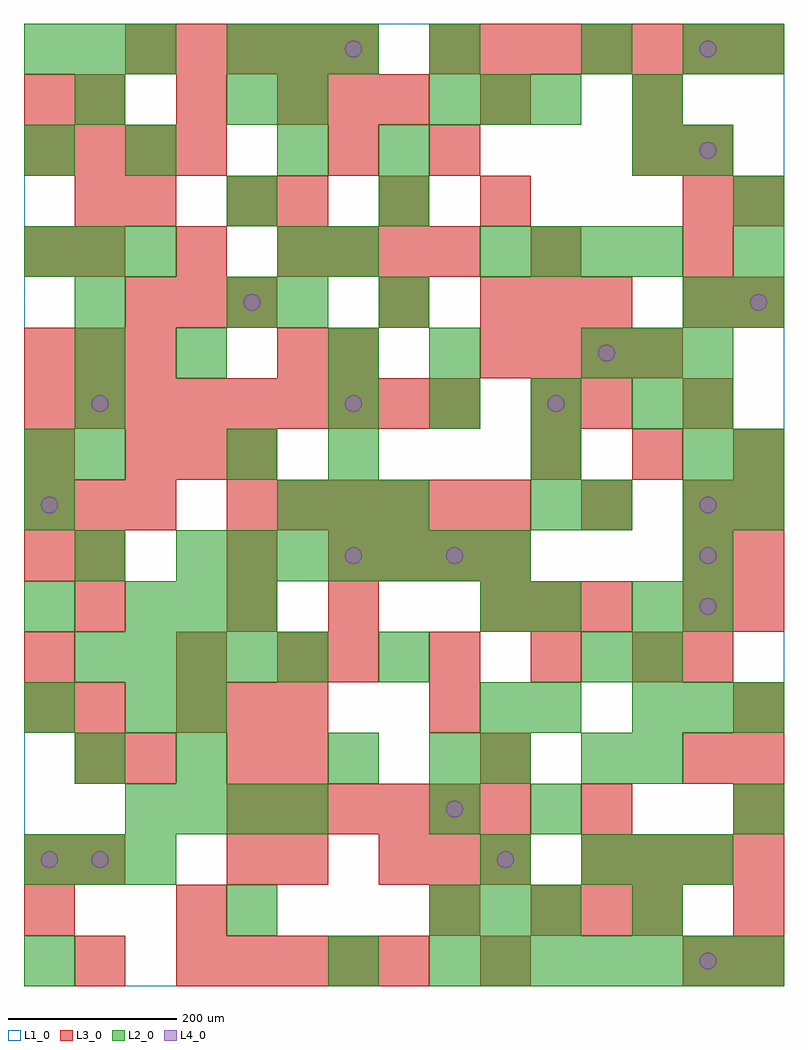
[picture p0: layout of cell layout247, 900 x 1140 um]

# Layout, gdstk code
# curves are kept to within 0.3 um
import gdstk
lib = gdstk.Library(unit=1e-6, precision=1e-09)
def R(c, l, rs):  # rectangles x0, y0, x1, y1
    for r in rs: c.add(gdstk.rectangle(r[:2], r[2:], *l))
def A(c, l, x, y, w, h, nx, ny, dx, dy):  # array of equal rectangles
    R(c, l, [(x+i*dx, y+j*dy, x+i*dx+w, y+j*dy+h) for i in range(nx) for j in range(ny)])
def P(c, l, *ps):  # polygons
    for p in ps: c.add(gdstk.Polygon(p, *l))
L1_0 = (1, 0)
L2_0 = (2, 0)
L3_0 = (3, 0)
L4_0 = (4, 0)

layout247 = lib.new_cell('layout247')
R(layout247, L1_0, [(0,0,900,1140)])
A(layout247, L2_0, 480, 0, 60, 60, 7, 1, 60, 0)
A(layout247, L2_0, 480, 60, 60, 60, 3, 2, 60, 960)
A(layout247, L2_0, 0, 120, 60, 60, 3, 2, 60, 720)
A(layout247, L2_0, 660, 120, 60, 60, 3, 2, 60, 600)
A(layout247, L2_0, 120, 180, 60, 60, 4, 1, 60, 0)
A(layout247, L2_0, 600, 180, 60, 60, 1, 4, 0, 120)
A(layout247, L2_0, 0, 300, 60, 60, 1, 3, 0, 120)
A(layout247, L2_0, 720, 300, 60, 60, 3, 1, 60, 0)
A(layout247, L2_0, 60, 360, 60, 60, 5, 1, 60, 0)
A(layout247, L2_0, 120, 420, 60, 60, 3, 1, 60, 0)
A(layout247, L2_0, 780, 420, 60, 60, 1, 5, 0, 60)
A(layout247, L2_0, 180, 480, 60, 60, 7, 1, 60, 0)
A(layout247, L2_0, 300, 540, 60, 60, 3, 1, 60, 0)
A(layout247, L2_0, 60, 600, 60, 60, 1, 4, 0, 60)
A(layout247, L2_0, 360, 600, 60, 60, 1, 3, 0, 120)
A(layout247, L2_0, 360, 660, 60, 60, 4, 1, 120, 0)
A(layout247, L2_0, 240, 780, 60, 60, 1, 3, 0, 120)
A(layout247, L2_0, 840, 780, 60, 60, 1, 3, 0, 60)
A(layout247, L2_0, 540, 840, 60, 60, 4, 1, 60, 0)
A(layout247, L2_0, 0, 1080, 60, 60, 3, 1, 60, 0)
A(layout247, L2_0, 240, 1080, 60, 60, 3, 1, 60, 0)
R(layout247, L2_0, [(0,0,60,60), (360,0,420,60), (240,60,300,120), (720,60,780,120), (540,120,600,180), (480,180,540,240), (840,180,900,240), (60,240,120,300), (180,240,240,300), (360,240,420,300), (480,240,540,300), (540,240,600,300), (660,240,720,300), (720,240,780,300), (120,300,180,360), (180,300,240,360), (540,300,600,360), (420,360,480,420), (660,360,720,420), (720,360,780,420), (540,420,600,480), (720,420,780,480), (60,480,120,540), (660,540,720,600), (840,540,900,600), (0,600,60,660), (240,600,300,660), (600,600,660,660), (840,600,900,660), (180,720,240,780), (480,720,540,780), (300,780,360,840), (420,780,480,840), (780,780,840,840), (300,840,360,900), (420,900,480,960), (0,960,60,1020), (120,960,180,1020), (300,960,360,1020), (420,960,480,1020), (720,960,780,1020), (780,960,840,1020), (60,1020,120,1080), (300,1020,360,1080), (720,1020,780,1080), (480,1080,540,1140), (660,1080,720,1140), (780,1080,840,1140), (840,1080,900,1140)])
A(layout247, L3_0, 60, 0, 60, 60, 1, 3, 0, 120)
A(layout247, L3_0, 180, 0, 60, 60, 5, 1, 60, 0)
A(layout247, L3_0, 600, 60, 60, 60, 3, 1, 60, 0)
A(layout247, L3_0, 420, 120, 60, 60, 3, 1, 60, 0)
A(layout247, L3_0, 660, 120, 60, 60, 4, 1, 60, 0)
A(layout247, L3_0, 240, 180, 60, 60, 6, 2, 60, 360)
A(layout247, L3_0, 840, 180, 60, 60, 1, 3, 0, 60)
A(layout247, L3_0, 300, 240, 60, 60, 3, 1, 240, 0)
A(layout247, L3_0, 180, 300, 60, 60, 3, 1, 60, 0)
A(layout247, L3_0, 0, 360, 60, 60, 1, 3, 0, 120)
A(layout247, L3_0, 360, 360, 60, 60, 4, 1, 120, 0)
A(layout247, L3_0, 780, 360, 60, 60, 1, 4, 0, 60)
A(layout247, L3_0, 540, 420, 60, 60, 3, 2, 60, 360)
A(layout247, L3_0, 840, 420, 60, 60, 1, 3, 0, 60)
A(layout247, L3_0, 360, 480, 60, 60, 4, 1, 60, 0)
A(layout247, L3_0, 0, 540, 60, 60, 3, 2, 60, 180)
A(layout247, L3_0, 120, 600, 60, 60, 3, 2, 60, 180)
A(layout247, L3_0, 600, 600, 60, 60, 3, 1, 120, 0)
A(layout247, L3_0, 0, 660, 60, 60, 9, 1, 60, 0)
A(layout247, L3_0, 540, 720, 60, 60, 4, 1, 60, 0)
A(layout247, L3_0, 780, 780, 60, 60, 1, 4, 0, 60)
A(layout247, L3_0, 60, 840, 60, 60, 3, 2, 120, 180)
A(layout247, L3_0, 360, 840, 60, 60, 3, 1, 60, 0)
A(layout247, L3_0, 300, 900, 60, 60, 3, 1, 120, 0)
A(layout247, L3_0, 0, 960, 60, 60, 4, 1, 60, 0)
A(layout247, L3_0, 120, 1080, 60, 60, 5, 1, 60, 0)
A(layout247, L3_0, 480, 1080, 60, 60, 7, 1, 60, 0)
R(layout247, L3_0, [(540,0,600,60), (780,0,840,60), (840,0,900,60), (0,60,60,120), (180,60,240,120), (480,60,540,120), (840,60,900,120), (0,120,60,180), (240,120,300,180), (300,120,360,180), (660,180,720,240), (120,240,180,300), (240,240,300,300), (0,300,60,360), (60,300,120,360), (480,300,540,360), (180,360,240,420), (300,360,360,420), (60,420,120,480), (240,420,300,480), (360,420,420,480), (60,480,120,540), (240,480,300,540), (660,540,720,600), (600,660,660,720), (660,660,720,720), (780,660,840,720), (300,720,360,780), (360,720,420,780), (420,780,480,840), (840,780,900,840), (0,840,60,900), (600,840,660,900), (60,900,120,960), (120,900,180,960), (240,900,300,960), (840,900,900,960), (360,960,420,1020), (480,960,540,1020), (720,960,780,1020), (0,1020,60,1080), (360,1020,420,1080), (420,1020,480,1080), (540,1020,600,1080), (720,1020,780,1080)])
P(layout247, L4_0, [(40,150),(39.239,153.827),(37.071,157.071),(33.827,159.239),(30,160),(26.173,159.239),(22.929,157.071),(20.761,153.827),(20,150),(20.761,146.173),(22.929,142.929),(26.173,140.761),(30,140),(33.827,140.761),(37.071,142.929),(39.239,146.173)],
  [(40,570),(39.239,573.827),(37.071,577.071),(33.827,579.239),(30,580),(26.173,579.239),(22.929,577.071),(20.761,573.827),(20,570),(20.761,566.173),(22.929,562.929),(26.173,560.761),(30,560),(33.827,560.761),(37.071,562.929),(39.239,566.173)],
  [(100,150),(99.239,153.827),(97.071,157.071),(93.827,159.239),(90,160),(86.173,159.239),(82.929,157.071),(80.761,153.827),(80,150),(80.761,146.173),(82.929,142.929),(86.173,140.761),(90,140),(93.827,140.761),(97.071,142.929),(99.239,146.173)],
  [(100,690),(99.239,693.827),(97.071,697.071),(93.827,699.239),(90,700),(86.173,699.239),(82.929,697.071),(80.761,693.827),(80,690),(80.761,686.173),(82.929,682.929),(86.173,680.761),(90,680),(93.827,680.761),(97.071,682.929),(99.239,686.173)],
  [(280,810),(279.239,813.827),(277.071,817.071),(273.827,819.239),(270,820),(266.173,819.239),(262.929,817.071),(260.761,813.827),(260,810),(260.761,806.173),(262.929,802.929),(266.173,800.761),(270,800),(273.827,800.761),(277.071,802.929),(279.239,806.173)],
  [(400,510),(399.239,513.827),(397.071,517.071),(393.827,519.239),(390,520),(386.173,519.239),(382.929,517.071),(380.761,513.827),(380,510),(380.761,506.173),(382.929,502.929),(386.173,500.761),(390,500),(393.827,500.761),(397.071,502.929),(399.239,506.173)],
  [(400,690),(399.239,693.827),(397.071,697.071),(393.827,699.239),(390,700),(386.173,699.239),(382.929,697.071),(380.761,693.827),(380,690),(380.761,686.173),(382.929,682.929),(386.173,680.761),(390,680),(393.827,680.761),(397.071,682.929),(399.239,686.173)],
  [(400,1110),(399.239,1113.827),(397.071,1117.071),(393.827,1119.239),(390,1120),(386.173,1119.239),(382.929,1117.071),(380.761,1113.827),(380,1110),(380.761,1106.173),(382.929,1102.929),(386.173,1100.761),(390,1100),(393.827,1100.761),(397.071,1102.929),(399.239,1106.173)],
  [(520,210),(519.239,213.827),(517.071,217.071),(513.827,219.239),(510,220),(506.173,219.239),(502.929,217.071),(500.761,213.827),(500,210),(500.761,206.173),(502.929,202.929),(506.173,200.761),(510,200),(513.827,200.761),(517.071,202.929),(519.239,206.173)],
  [(520,510),(519.239,513.827),(517.071,517.071),(513.827,519.239),(510,520),(506.173,519.239),(502.929,517.071),(500.761,513.827),(500,510),(500.761,506.173),(502.929,502.929),(506.173,500.761),(510,500),(513.827,500.761),(517.071,502.929),(519.239,506.173)],
  [(580,150),(579.239,153.827),(577.071,157.071),(573.827,159.239),(570,160),(566.173,159.239),(562.929,157.071),(560.761,153.827),(560,150),(560.761,146.173),(562.929,142.929),(566.173,140.761),(570,140),(573.827,140.761),(577.071,142.929),(579.239,146.173)],
  [(640,690),(639.239,693.827),(637.071,697.071),(633.827,699.239),(630,700),(626.173,699.239),(622.929,697.071),(620.761,693.827),(620,690),(620.761,686.173),(622.929,682.929),(626.173,680.761),(630,680),(633.827,680.761),(637.071,682.929),(639.239,686.173)],
  [(700,750),(699.239,753.827),(697.071,757.071),(693.827,759.239),(690,760),(686.173,759.239),(682.929,757.071),(680.761,753.827),(680,750),(680.761,746.173),(682.929,742.929),(686.173,740.761),(690,740),(693.827,740.761),(697.071,742.929),(699.239,746.173)],
  [(820,30),(819.239,33.827),(817.071,37.071),(813.827,39.239),(810,40),(806.173,39.239),(802.929,37.071),(800.761,33.827),(800,30),(800.761,26.173),(802.929,22.929),(806.173,20.761),(810,20),(813.827,20.761),(817.071,22.929),(819.239,26.173)],
  [(820,450),(819.239,453.827),(817.071,457.071),(813.827,459.239),(810,460),(806.173,459.239),(802.929,457.071),(800.761,453.827),(800,450),(800.761,446.173),(802.929,442.929),(806.173,440.761),(810,440),(813.827,440.761),(817.071,442.929),(819.239,446.173)],
  [(820,510),(819.239,513.827),(817.071,517.071),(813.827,519.239),(810,520),(806.173,519.239),(802.929,517.071),(800.761,513.827),(800,510),(800.761,506.173),(802.929,502.929),(806.173,500.761),(810,500),(813.827,500.761),(817.071,502.929),(819.239,506.173)],
  [(820,570),(819.239,573.827),(817.071,577.071),(813.827,579.239),(810,580),(806.173,579.239),(802.929,577.071),(800.761,573.827),(800,570),(800.761,566.173),(802.929,562.929),(806.173,560.761),(810,560),(813.827,560.761),(817.071,562.929),(819.239,566.173)],
  [(820,990),(819.239,993.827),(817.071,997.071),(813.827,999.239),(810,1000),(806.173,999.239),(802.929,997.071),(800.761,993.827),(800,990),(800.761,986.173),(802.929,982.929),(806.173,980.761),(810,980),(813.827,980.761),(817.071,982.929),(819.239,986.173)],
  [(820,1110),(819.239,1113.827),(817.071,1117.071),(813.827,1119.239),(810,1120),(806.173,1119.239),(802.929,1117.071),(800.761,1113.827),(800,1110),(800.761,1106.173),(802.929,1102.929),(806.173,1100.761),(810,1100),(813.827,1100.761),(817.071,1102.929),(819.239,1106.173)],
  [(880,810),(879.239,813.827),(877.071,817.071),(873.827,819.239),(870,820),(866.173,819.239),(862.929,817.071),(860.761,813.827),(860,810),(860.761,806.173),(862.929,802.929),(866.173,800.761),(870,800),(873.827,800.761),(877.071,802.929),(879.239,806.173)])

lib.write_gds('layout247.gds')
